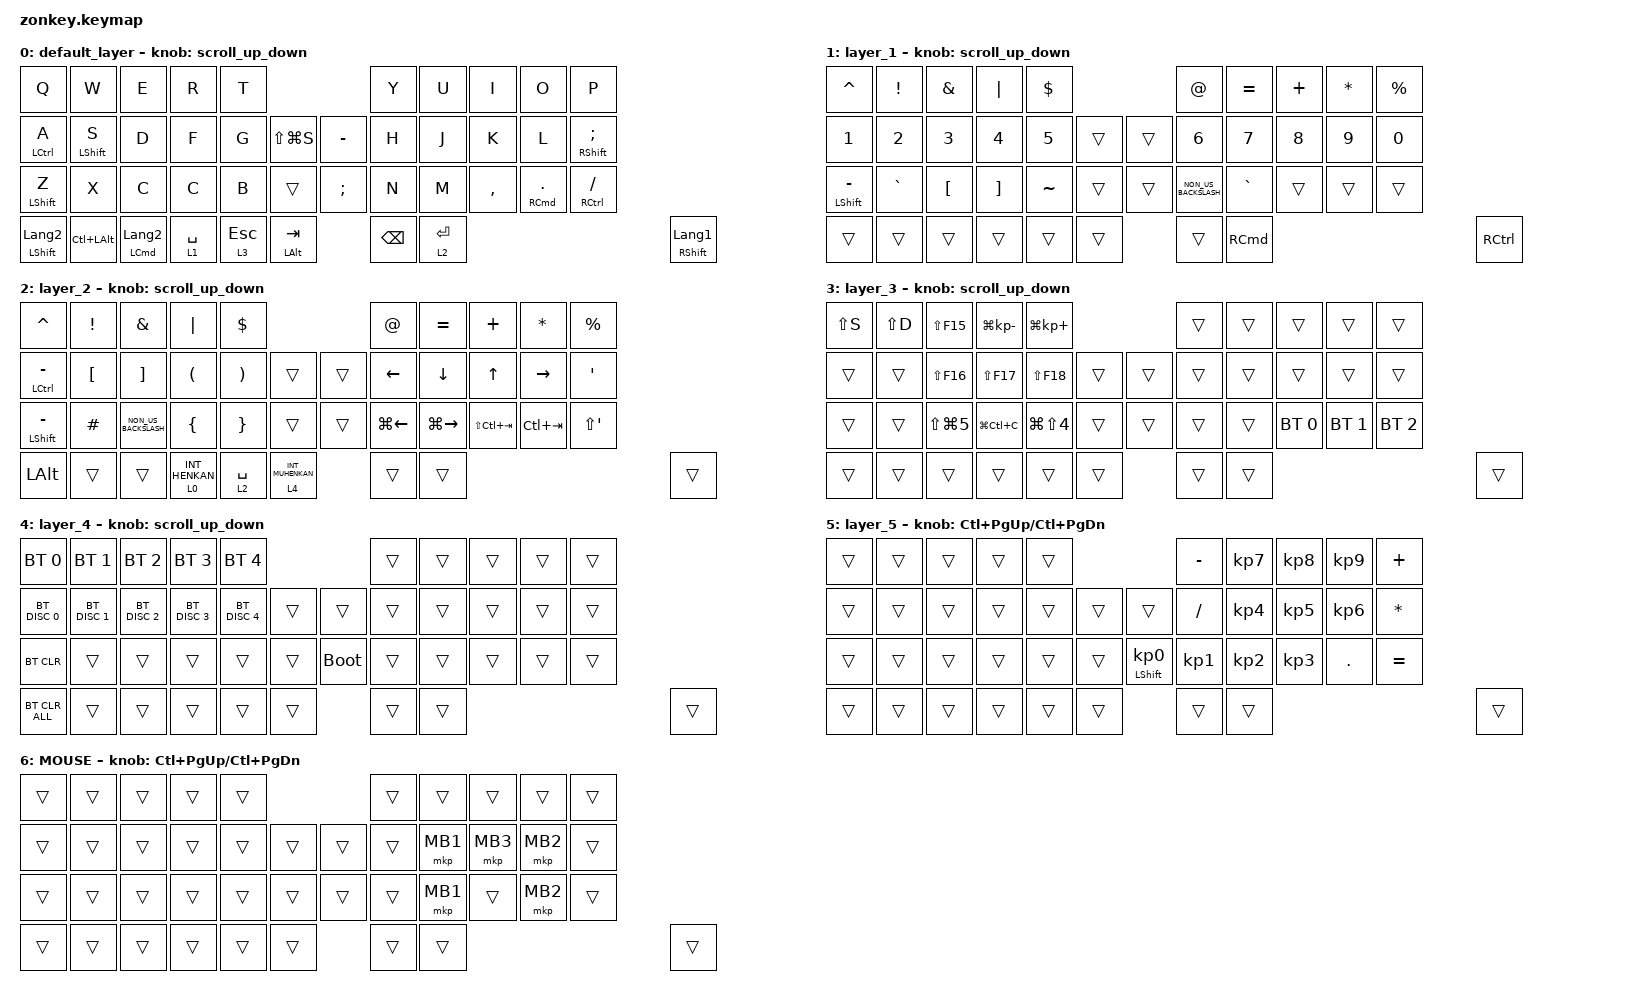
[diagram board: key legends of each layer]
#include <physical_layouts.dtsi>
#include <behaviors.dtsi>
#include <dt-bindings/zmk/bt.h>
#include <dt-bindings/zmk/keys.h>
#include <dt-bindings/zmk/pointing.h>

#define ZMK_POINTING_DEFAULT_SCRL_VAL 100
#define DFb 0
#define JIS 1
#define BT 4
#define MOUSE 6
#define JP_DQUOTE       AT                // "
#define JP_AMPERSAND    CARET             // &
#define JP_QUOTE        AMPERSAND         // '
#define JP_EQUAL        UNDER             // =
#define JP_CARET        EQUAL             // ^
#define JP_YEN          0x89              // ¥
#define JP_PLUS         COLON             // +
#define JP_TILDE        PLUS              // ~
#define JP_PIPE         LS(0x89)          // |
#define JP_AT           LEFT_BRACKET      // @
#define JP_COLON        SINGLE_QUOTE      // :
#define JP_ASTERISK     DOUBLE_QUOTES     // *
#define JP_BACKQUOTE    LEFT_BRACE        // `
#define JP_UNDERSCORE   LS(0x87)          // _
#define JP_LBRACKET     RIGHT_BRACKET     // [
#define JP_RBRACKET     BACKSLASH         // ]
#define JP_LPAREN       ASTERISK          // (
#define JP_RPAREN       LEFT_PARENTHESIS  // )
#define JP_LBRACE       RIGHT_BRACE       // {
#define JP_RBRACE       PIPE              // }
#define JP_KANA         LANGUAGE_1        // かな
#define JP_EISU         LANGUAGE_2        // 英数
#define JP_HANZEN       GRAVE             // 半角/全角
#define JP_BSLH  INT1         // (backslash)

&mt {
    flavor = "balanced";
    quick-tap-ms = <0>;
};

/ {
    combos { compatible = "zmk,combos"; };

    macros {
        to_layer_0: to_layer_0 {
            compatible = "zmk,behavior-macro-one-param";
            #binding-cells = <1>;
            bindings = <&to 0 &macro_param_1to1 &kp MACRO_PLACEHOLDER>;
            label = "TO_LAYER_0";
        };
    };

    behaviors {
        lt_to_layer_0: lt_to_layer_0 {
            compatible = "zmk,behavior-hold-tap";
            label = "LAYER_TAP_TO_0";
            bindings = <&mo>, <&to_layer_0>;

            #binding-cells = <2>;
            tapping-term-ms = <200>;
        };

        mo2: mo2 {
            compatible = "zmk,behavior-mod-morph";
            #binding-cells = <0>;
            bindings = <&kp N2>, <&kp AT>;

            mods = <(MOD_LSFT|MOD_RSFT)>;
        };

        mo6: mo6 {
            compatible = "zmk,behavior-mod-morph";
            #binding-cells = <0>;
            bindings = <&kp N6>, <&kp CARET>;

            mods = <(MOD_LSFT|MOD_RSFT)>;
        };

        mo7: mo7 {
            compatible = "zmk,behavior-mod-morph";
            #binding-cells = <0>;
            bindings = <&kp N7>, <&kp AMPS>;

            mods = <(MOD_LSFT|MOD_RSFT)>;
        };

        mo8: mo8 {
            compatible = "zmk,behavior-mod-morph";
            #binding-cells = <0>;
            bindings = <&kp N8>, <&kp ASTRK>;

            mods = <(MOD_LSFT|MOD_RSFT)>;
        };

        mo9: mo9 {
            compatible = "zmk,behavior-mod-morph";
            #binding-cells = <0>;
            bindings = <&kp N9>, <&kp LPAR>;

            mods = <(MOD_LSFT|MOD_RSFT)>;
        };

        mo0: mo0 {
            compatible = "zmk,behavior-mod-morph";
            #binding-cells = <0>;
            bindings = <&kp N0>, <&kp LS(N9)>;

            mods = <(MOD_LSFT|MOD_RSFT)>;
        };

        moA: moA {
            compatible = "zmk,behavior-mod-morph";
            #binding-cells = <0>;
            bindings = <&kp MINUS>, <&kp UNDERSCORE>;

            mods = <(MOD_LSFT|MOD_RSFT)>;
        };

        moB: moB {
            compatible = "zmk,behavior-mod-morph";
            #binding-cells = <0>;
            bindings = <&kp EQUAL>, <&kp PLUS>;

            mods = <(MOD_LSFT|MOD_RSFT)>;
        };

        moC: moC {
            compatible = "zmk,behavior-mod-morph";
            #binding-cells = <0>;
            bindings = <&kp INT3>, <&kp JP_PIPE>;

            mods = <(MOD_LSFT|MOD_RSFT)>;
        };

        moD: moD {
            compatible = "zmk,behavior-mod-morph";
            #binding-cells = <0>;
            bindings = <&kp LBKT>, <&kp LBRC>;

            mods = <(MOD_LSFT|MOD_RSFT)>;
        };

        moE: moE {
            compatible = "zmk,behavior-mod-morph";
            #binding-cells = <0>;
            bindings = <&kp RBKT>, <&kp RBRC>;

            mods = <(MOD_LSFT|MOD_RSFT)>;
        };

        moF: moF {
            compatible = "zmk,behavior-mod-morph";
            #binding-cells = <0>;
            bindings = <&kp SEMI>, <&kp KP_PLUS>;

            mods = <(MOD_LSFT|MOD_RSFT)>;
        };

        moG: moG {
            compatible = "zmk,behavior-mod-morph";
            #binding-cells = <0>;
            bindings = <&kp APOSTROPHE>, <&kp DQT>;

            mods = <(MOD_LSFT|MOD_RSFT)>;
        };

        moH: moH {
            compatible = "zmk,behavior-mod-morph";
            #binding-cells = <0>;
            bindings = <&kp BACKSLASH>, <&kp TILDE2>;

            mods = <(MOD_LSFT|MOD_RSFT)>;
        };

        moI: moI {
            compatible = "zmk,behavior-mod-morph";
            #binding-cells = <0>;
            bindings = <&kp JP_BSLH>, <&kp JP_UNDERSCORE>;

            mods = <(MOD_LSFT|MOD_RSFT)>;
        };

        scroll_up_down: behavior_sensor_rotate_mouse_wheel_up_down {
            compatible = "zmk,behavior-sensor-rotate";
            #sensor-binding-cells = <0>;
            bindings = <&msc SCRL_UP>, <&msc SCRL_DOWN>;

            tap-ms = <20>;
        };
    };

    keymap {
        compatible = "zmk,keymap";

        default_layer {
            bindings = <
&kp Q                      &kp W             &kp E                        &kp R        &kp T                                            &kp Y          &kp U        &kp I      &kp O                     &kp P
&mt LCTRL A                &mt LEFT_SHIFT S  &kp D                        &kp F        &kp G         &kp LS(LG(S))       &kp MINUS      &kp H          &kp J        &kp K      &kp L                     &mt RIGHT_SHIFT SEMICOLON
&mt LEFT_SHIFT Z           &kp X             &kp C                        &kp C        &kp B         &trans              &kp SEMICOLON  &kp N          &kp M        &kp COMMA  &mt RIGHT_COMMAND PERIOD  &mt RCTRL SLASH
&mt LEFT_SHIFT LANGUAGE_2  &kp LC(LEFT_ALT)  &mt LEFT_COMMAND LANGUAGE_2  &lt 1 SPACE  &lt 3 ESCAPE  &mt LEFT_ALT TAB                   &kp BACKSPACE  &lt 2 ENTER                                                                  &mt RIGHT_SHIFT LANGUAGE_1
            >;

            sensor-bindings = <&scroll_up_down>;
        };

        layer_1 {
            bindings = <
&kp CARET             &kp EXCLAMATION  &kp AMPERSAND     &kp PIPE           &kp DOLLAR                      &kp AT                &kp EQUAL          &kp PLUS      &kp ASTERISK  &kp PERCENT
&kp NUMBER_1          &kp NUMBER_2     &kp NUMBER_3      &kp NUMBER_4       &kp NUMBER_5  &trans    &trans  &kp NUMBER_6          &kp NUMBER_7       &kp NUMBER_8  &kp NUMBER_9  &kp NUMBER_0
&mt LEFT_SHIFT MINUS  &kp GRAVE        &kp LEFT_BRACKET  &kp RIGHT_BRACKET  &kp TILDE     &trans    &trans  &kp NON_US_BACKSLASH  &kp GRAVE          &trans        &trans        &trans
&trans                &trans           &trans            &trans             &trans        &trans            &trans                &kp RIGHT_COMMAND                                            &kp RCTRL
            >;

            sensor-bindings = <&scroll_up_down>;
        };

        layer_2 {
            bindings = <
&kp CARET             &kp EXCLAMATION   &kp AMPERSAND         &kp PIPE              &kp DOLLAR                                           &kp AT              &kp EQUAL            &kp PLUS         &kp ASTERISK     &kp PERCENT
&mt LCTRL MINUS       &kp LEFT_BRACKET  &kp RIGHT_BRACKET     &kp LEFT_PARENTHESIS  &kp RIGHT_PARENTHESIS  &trans                &trans  &kp LEFT_ARROW      &kp DOWN_ARROW       &kp UP_ARROW     &kp RIGHT_ARROW  &kp SINGLE_QUOTE
&mt LEFT_SHIFT MINUS  &kp HASH          &kp NON_US_BACKSLASH  &kp LEFT_BRACE        &kp RIGHT_BRACE        &trans                &trans  &kp LG(LEFT_ARROW)  &kp LG(RIGHT_ARROW)  &kp LS(LC(TAB))  &kp LC(TAB)      &kp LS(SINGLE_QUOTE)
&kp LEFT_ALT          &trans            &trans                &lt 0 INT_HENKAN      &lt 2 SPACE            &lt 4 INT_MUHENKAN            &trans              &trans                                                                       &trans
            >;

            sensor-bindings = <&scroll_up_down>;
        };

        layer_3 {
            bindings = <
&kp LS(S)  &kp LS(D)  &kp LS(F15)           &kp LG(KP_MINUS)  &kp LG(KP_PLUS)                         &trans  &trans  &trans        &trans        &trans
&trans     &trans     &kp LS(F16)           &kp LS(F17)       &kp LS(F18)           &trans    &trans  &trans  &trans  &trans        &trans        &trans
&trans     &trans     &kp LS(LG(NUMBER_5))  &kp LG(LC(C))     &kp LG(LS(NUMBER_4))  &trans    &trans  &trans  &trans  &bt BT_SEL 0  &bt BT_SEL 1  &bt BT_SEL 2
&trans     &trans     &trans                &trans            &trans                &trans            &trans  &trans                                            &trans
            >;

            sensor-bindings = <&scroll_up_down>;
        };

        layer_4 {
            bindings = <
&bt BT_SEL 0    &bt BT_SEL 1   &bt BT_SEL 2   &bt BT_SEL 3   &bt BT_SEL 4                          &trans  &trans  &trans  &trans  &trans
&bt BT_DISC 0   &bt BT_DISC 1  &bt BT_DISC 2  &bt BT_DISC 3  &bt BT_DISC 4  &trans    &trans       &trans  &trans  &trans  &trans  &trans
&bt BT_CLR      &trans         &trans         &trans         &trans         &trans    &bootloader  &trans  &trans  &trans  &trans  &trans
&bt BT_CLR_ALL  &trans         &trans         &trans         &trans         &trans                 &trans  &trans                          &trans
            >;

            sensor-bindings = <&scroll_up_down>;
        };

        layer_5 {
            bindings = <
&trans  &trans  &trans  &trans  &trans                                        &kp MINUS        &kp KP_NUMBER_7  &kp KP_NUMBER_8  &kp KP_NUMBER_9  &kp PLUS
&trans  &trans  &trans  &trans  &trans  &trans    &trans                      &kp SLASH        &kp KP_NUMBER_4  &kp KP_NUMBER_5  &kp KP_NUMBER_6  &kp ASTERISK
&trans  &trans  &trans  &trans  &trans  &trans    &mt LEFT_SHIFT KP_NUMBER_0  &kp KP_NUMBER_1  &kp KP_NUMBER_2  &kp KP_NUMBER_3  &kp PERIOD       &kp EQUAL
&trans  &trans  &trans  &trans  &trans  &trans                                &trans           &trans                                                           &trans
            >;

            sensor-bindings = <&inc_dec_kp LC(PAGE_UP) LC(PAGE_DOWN)>;
        };

        MOUSE {
            bindings = <
&trans  &trans  &trans  &trans  &trans                    &trans  &trans    &trans    &trans    &trans
&trans  &trans  &trans  &trans  &trans  &trans    &trans  &trans  &mkp MB1  &mkp MB3  &mkp MB2  &trans
&trans  &trans  &trans  &trans  &trans  &trans    &trans  &trans  &mkp MB1  &trans    &mkp MB2  &trans
&trans  &trans  &trans  &trans  &trans  &trans            &trans  &trans                                &trans
            >;

            sensor-bindings = <&inc_dec_kp LC(PAGE_UP) LC(PAGE_DOWN)>;
        };
    };
};
